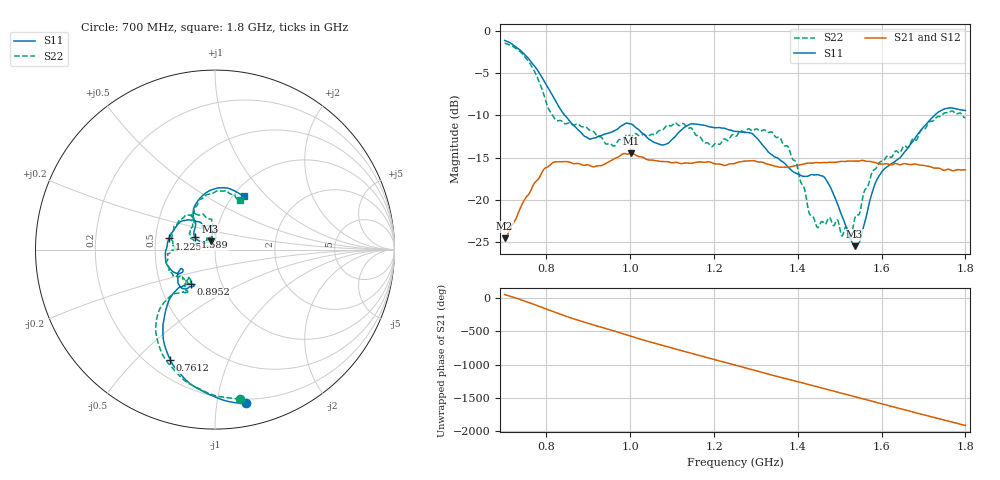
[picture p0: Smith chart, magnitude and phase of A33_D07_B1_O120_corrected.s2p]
! Created with skrf 1.9.0 (http://scikit-rf.org).
# Hz S RI R 50.0
!freq ReS11 ImS11 ReS21 ImS21 ReS12 ImS12 ReS22 ImS22
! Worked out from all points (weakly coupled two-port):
!   1601 points, 700 MHz to 1.8 GHz, reference 50 ohm
!   highest |S21| = -14.49 dB at 1.002 GHz (marker M1); lowest = -24.5 dB at 700 MHz (marker M2)
!   lowest |S11| = -25.5 dB at 1.535 GHz (marker M3), VSWR 1.11, Z = 47.4 + j4.49 ohm
!   |S11| at or under -10 dB: 843.4 MHz to 1.727 GHz (883.4 MHz wide, 68.7 % of centre)
!   |S22| runs from -24.5 to -1.5 dB; largest |S21 - S12| = 0.0035
!   S11 on the Smith chart (normalised r, x): 700 MHz: 0.17, -1.21; 761.2 MHz: 0.29, -0.63; 895.2 MHz: 0.71, -0.29; 1.225 GHz: 0.59, +0.08; 1.589 GHz: 0.79, +0.11; 1.8 GHz: 1.12, +0.75
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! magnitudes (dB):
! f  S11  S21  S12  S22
! 700 MHz  -1.2  -24.5  -24.3  -1.5
! 761.2 MHz  -3.6  -19.0  -18.9  -3.9
! 819.6 MHz  -8.1  -15.5  -15.6  -10.4
! 883.6 MHz  -12.1  -15.8  -15.7  -11.4
! 895.2 MHz  -12.6  -15.9  -16.0  -11.4
! 959.2 MHz  -11.9  -15.2  -15.2  -13.6
! 1.002 GHz  -11.1  -14.5  -14.6  -12.6
! 1.067 GHz  -13.4  -15.4  -15.4  -11.9
! 1.144 GHz  -11.0  -15.7  -15.7  -11.5
! 1.193 GHz  -11.4  -15.6  -15.6  -13.7
! 1.225 GHz  -11.5  -15.9  -15.9  -12.8
! 1.25 GHz  -11.9  -15.7  -15.6  -12.5
! 1.357 GHz  -15.3  -16.1  -16.1  -12.7
! 1.396 GHz  -16.9  -16.0  -15.9  -15.6
! 1.434 GHz  -17.0  -15.7  -15.6  -21.9
! 1.471 GHz  -17.9  -15.6  -15.6  -22.4
! 1.525 GHz  -24.6  -15.4  -15.4  -24.5
! 1.535 GHz  -25.5  -15.4  -15.4  -22.3
! 1.589 GHz  -17.6  -15.7  -15.7  -16.1
! 1.617 GHz  -16.0  -15.8  -15.8  -14.8
! 1.735 GHz  -9.6  -16.3  -16.3  -10.2
! 1.8 GHz  -9.4  -16.4  -16.4  -10.3
